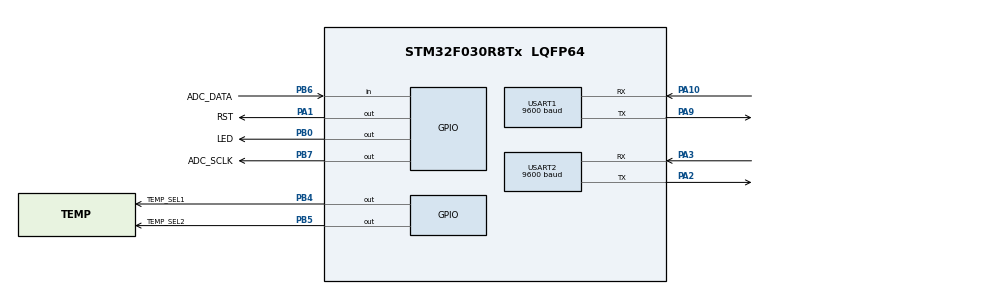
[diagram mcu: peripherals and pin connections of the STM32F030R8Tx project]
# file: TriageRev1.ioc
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Mcu.Family=STM32F0
Mcu.Name=STM32F030R8Tx
Mcu.Package=LQFP64
NVIC.USART1_IRQn=true\:0\:0\:false\:false\:true\:true\:true\:true
NVIC.USART2_IRQn=true\:0\:0\:false\:false\:true\:true\:true\:true
PA1.GPIO_Label=RST
PA1.Signal=GPIO_Output
PA10.Mode=Asynchronous
PA10.Signal=USART1_RX
PA13.Mode=Serial_Wire
PA13.Signal=SYS_SWDIO
PA14.Mode=Serial_Wire
PA14.Signal=SYS_SWCLK
PA2.Mode=Asynchronous
PA2.Signal=USART2_TX
PA3.Mode=Asynchronous
PA3.Signal=USART2_RX
PA9.Mode=Asynchronous
PA9.Signal=USART1_TX
PB0.GPIO_Label=LED
PB0.Signal=GPIO_Output
PB4.GPIO_Label=TEMP_SEL1
PB4.Signal=GPIO_Output
PB5.GPIO_Label=TEMP_SEL2
PB5.Signal=GPIO_Output
PB6.GPIO_Label=ADC_DATA
PB6.Signal=GPIO_Input
PB7.GPIO_Label=ADC_SCLK
PB7.Signal=GPIO_Output
PC14-OSC32_IN.Mode=LSE-External-Oscillator
PC14-OSC32_IN.Signal=RCC_OSC32_IN
PC15-OSC32_OUT.Mode=LSE-External-Oscillator
PC15-OSC32_OUT.Signal=RCC_OSC32_OUT
ProjectManager.HeapSize=0x200
ProjectManager.StackSize=0x400
ProjectManager.TargetToolchain=MDK-ARM V5
USART1.BaudRate=9600
USART1.VirtualMode-Asynchronous=VM_ASYNC
USART2.BaudRate=9600
USART2.VirtualMode-Asynchronous=VM_ASYNC
board=custom

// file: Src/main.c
/* USER CODE BEGIN Header */
/**
  ******************************************************************************
  * @file           : main.c
  * @brief          : Main program body
  ******************************************************************************
  * @attention
  *
  * <h2><center>&copy; Copyright (c) 2022 STMicroelectronics.
  * All rights reserved.</center></h2>
  *
  * This software component is licensed by ST under BSD 3-Clause license,
  * the "License"; You may not use this file except in compliance with the
  * License. You may obtain a copy of the License at:
  *                        opensource.org/licenses/BSD-3-Clause
  *
  ******************************************************************************
  */
/* USER CODE END Header */

#include "main.h"
#include "masimo.h"
#include "math.h"
#include "string.h"

/* USER CODE BEGIN PD */

#define AD7171_RESOLUTION 	32767.0f

/* USER CODE END PD */

UART_HandleTypeDef huart1;
UART_HandleTypeDef huart2;

/* USER CODE BEGIN PV */

MasimoPacket masimoPacket;

extern uint8_t incommingByte[1];
extern uint8_t receiveMasimo[64];
extern uint8_t state;
extern uint16_t spo2;
extern uint16_t pulseRate;
extern uint16_t perfusionIndex;

uint8_t espOut[32];

uint8_t pattern=0;
int adcData = 0;
float normalizeData = 0;
int resistor = 0;

static const float REF_RESISTOR = 10000.0;
float A = 0.001214095268; //A
float B = 0.0002351453496; //B
float C = 0.00000009101744098;  //C
float	T = 0;
uint16_t tempUint =0;

/* USER CODE END PV */

void SystemClock_Config(void);
static void MX_GPIO_Init(void);
static void MX_USART1_UART_Init(void);
static void MX_USART2_UART_Init(void);

/* USER CODE BEGIN 0 */

int adcRead() {
	int data = 0;

	pattern = 0;

	while(1){
		data = 0;

		if(!HAL_GPIO_ReadPin(ADC_DATA_GPIO_Port, ADC_DATA_Pin)) {
			for (int bit = 23; bit >= 0; bit--) {
				HAL_GPIO_WritePin(ADC_SCLK_GPIO_Port, ADC_SCLK_Pin, GPIO_PIN_RESET);
				HAL_GPIO_WritePin(ADC_SCLK_GPIO_Port, ADC_SCLK_Pin, GPIO_PIN_SET);

				if(HAL_GPIO_ReadPin(ADC_DATA_GPIO_Port, ADC_DATA_Pin))
					data |= (1 << bit);
			}
		}

		if(((data & 0x1F) == 0x0D) && ((data & 0x80) == 0))
			break;

		HAL_Delay(1);
	}

	pattern = (uint8_t) (data & 0xFF);

	return (data >> 8) & (0x7FFF);
}

/* USER CODE END 0 */

int main(void)
{

  /* MCU Configuration--------------------------------------------------------*/

  /* Reset of all peripherals, Initializes the Flash interface and the Systick. */
  HAL_Init();

  /* Configure the system clock */
  SystemClock_Config();

  /* Initialize all configured peripherals */
  MX_GPIO_Init();
  MX_USART1_UART_Init();
  MX_USART2_UART_Init();
  /* USER CODE BEGIN 2 */

	HAL_UART_Receive_IT(&huart2, incommingByte, 1);

	for(int i=0; i<3; i++){
		HAL_GPIO_WritePin(LED_GPIO_Port, LED_Pin, GPIO_PIN_SET);
		HAL_Delay(100);
		HAL_GPIO_WritePin(LED_GPIO_Port, LED_Pin, GPIO_PIN_RESET);
		HAL_Delay(100);
	}

	HAL_GPIO_WritePin(RST_GPIO_Port, RST_Pin, GPIO_PIN_RESET);
	HAL_Delay(1000);
	HAL_GPIO_WritePin(RST_GPIO_Port, RST_Pin, GPIO_PIN_SET);
	HAL_Delay(3000);

  /* USER CODE END 2 */
	initPacket();

	checkStatus();
	HAL_Delay(1000);

	if(state == BOARD_LOCKED){
		requestBoardInfo();
		HAL_Delay(1000);

		unlockBoard();
		HAL_Delay(1000);
	}

	if(state == 'M'){
		programmingAck();
		HAL_Delay(1000);
	}

	HAL_GPIO_WritePin(TEMP_SEL1_GPIO_Port, TEMP_SEL1_Pin, GPIO_PIN_RESET);	// Skin 1 secildi
	HAL_GPIO_WritePin(TEMP_SEL2_GPIO_Port, TEMP_SEL2_Pin, GPIO_PIN_RESET);	// Skin 1 secildi
	HAL_GPIO_WritePin(ADC_SCLK_GPIO_Port, ADC_SCLK_Pin, GPIO_PIN_SET);

  /* USER CODE END 2 */

  /* Infinite loop */
  while (1)
  {
		requestSpo2();
		HAL_Delay(120);
		requestPulseRate();
		HAL_Delay(120);
		requestPerfusionIndex();
		HAL_Delay(120);

		adcData = adcRead();
		if(pattern == 0x0D){
			normalizeData = (float)adcData/AD7171_RESOLUTION;
			resistor = normalizeData*REF_RESISTOR;
			if(resistor<100){
				T=0;	// Arizali cilt
				tempUint = 0;
			}
			else{
				T = 1/(A + (B*log(resistor)) + (C*pow(log(resistor),3)));
				T = T-273.15;
				tempUint = T*100;
			}
		}
		else{
			T=1; // Cilt takili degil.
			tempUint = 1;
		}

		espOut[0] = 0xA4;
		espOut[1] = spo2>>8;
		espOut[2] = spo2;
		espOut[3] = pulseRate>>8;
		espOut[4] = pulseRate;
		espOut[5] = perfusionIndex>>8;
		espOut[6] = perfusionIndex;
		espOut[7] = tempUint>>8;
		espOut[8] = tempUint;
		espOut[9] = 0x4A;

		HAL_UART_Transmit(&huart1, espOut, 10, 100);
		HAL_Delay(1000);
		memset(espOut, 0, 32);
	}
  /* USER CODE END 3 */
}

void SystemClock_Config(void)
{
  RCC_OscInitTypeDef RCC_OscInitStruct = {0};
  RCC_ClkInitTypeDef RCC_ClkInitStruct = {0};
  RCC_PeriphCLKInitTypeDef PeriphClkInit = {0};

  /** Initializes the CPU, AHB and APB busses clocks
  */
  RCC_OscInitStruct.OscillatorType = RCC_OSCILLATORTYPE_HSI;
  RCC_OscInitStruct.HSIState = RCC_HSI_ON;
  RCC_OscInitStruct.HSICalibrationValue = RCC_HSICALIBRATION_DEFAULT;
  RCC_OscInitStruct.PLL.PLLState = RCC_PLL_NONE;
  if (HAL_RCC_OscConfig(&RCC_OscInitStruct) != HAL_OK)
  {
    Error_Handler();
  }
  /** Initializes the CPU, AHB and APB busses clocks
  */
  RCC_ClkInitStruct.ClockType = RCC_CLOCKTYPE_HCLK|RCC_CLOCKTYPE_SYSCLK
                              |RCC_CLOCKTYPE_PCLK1;
  RCC_ClkInitStruct.SYSCLKSource = RCC_SYSCLKSOURCE_HSI;
  RCC_ClkInitStruct.AHBCLKDivider = RCC_SYSCLK_DIV1;
  RCC_ClkInitStruct.APB1CLKDivider = RCC_HCLK_DIV1;

  if (HAL_RCC_ClockConfig(&RCC_ClkInitStruct, FLASH_LATENCY_0) != HAL_OK)
  {
    Error_Handler();
  }
  PeriphClkInit.PeriphClockSelection = RCC_PERIPHCLK_USART1;
  PeriphClkInit.Usart1ClockSelection = RCC_USART1CLKSOURCE_PCLK1;
  if (HAL_RCCEx_PeriphCLKConfig(&PeriphClkInit) != HAL_OK)
  {
    Error_Handler();
  }
}

static void MX_USART1_UART_Init(void)
{

  huart1.Instance = USART1;
  huart1.Init.BaudRate = 9600;
  huart1.Init.WordLength = UART_WORDLENGTH_8B;
  huart1.Init.StopBits = UART_STOPBITS_1;
  huart1.Init.Parity = UART_PARITY_NONE;
  huart1.Init.Mode = UART_MODE_TX_RX;
  huart1.Init.HwFlowCtl = UART_HWCONTROL_NONE;
  huart1.Init.OverSampling = UART_OVERSAMPLING_16;
  huart1.Init.OneBitSampling = UART_ONE_BIT_SAMPLE_DISABLE;
  huart1.AdvancedInit.AdvFeatureInit = UART_ADVFEATURE_NO_INIT;
  if (HAL_UART_Init(&huart1) != HAL_OK)
  {
    Error_Handler();
  }

}

static void MX_USART2_UART_Init(void)
{

  huart2.Instance = USART2;
  huart2.Init.BaudRate = 9600;
  huart2.Init.WordLength = UART_WORDLENGTH_8B;
  huart2.Init.StopBits = UART_STOPBITS_1;
  huart2.Init.Parity = UART_PARITY_NONE;
  huart2.Init.Mode = UART_MODE_TX_RX;
  huart2.Init.HwFlowCtl = UART_HWCONTROL_NONE;
  huart2.Init.OverSampling = UART_OVERSAMPLING_16;
  huart2.Init.OneBitSampling = UART_ONE_BIT_SAMPLE_DISABLE;
  huart2.AdvancedInit.AdvFeatureInit = UART_ADVFEATURE_NO_INIT;
  if (HAL_UART_Init(&huart2) != HAL_OK)
  {
    Error_Handler();
  }

}

static void MX_GPIO_Init(void)
{
  GPIO_InitTypeDef GPIO_InitStruct = {0};

  /* GPIO Ports Clock Enable */
  __HAL_RCC_GPIOC_CLK_ENABLE();
  __HAL_RCC_GPIOA_CLK_ENABLE();
  __HAL_RCC_GPIOB_CLK_ENABLE();

  /*Configure GPIO pin Output Level */
  HAL_GPIO_WritePin(RST_GPIO_Port, RST_Pin, GPIO_PIN_RESET);

  /*Configure GPIO pin Output Level */
  HAL_GPIO_WritePin(GPIOB, LED_Pin|TEMP_SEL1_Pin|TEMP_SEL2_Pin|ADC_SCLK_Pin, GPIO_PIN_RESET);

  /*Configure GPIO pin : RST_Pin */
  GPIO_InitStruct.Pin = RST_Pin;
  GPIO_InitStruct.Mode = GPIO_MODE_OUTPUT_PP;
  GPIO_InitStruct.Pull = GPIO_NOPULL;
  GPIO_InitStruct.Speed = GPIO_SPEED_FREQ_LOW;
  HAL_GPIO_Init(RST_GPIO_Port, &GPIO_InitStruct);

  /*Configure GPIO pins : LED_Pin TEMP_SEL1_Pin TEMP_SEL2_Pin ADC_SCLK_Pin */
  GPIO_InitStruct.Pin = LED_Pin|TEMP_SEL1_Pin|TEMP_SEL2_Pin|ADC_SCLK_Pin;
  GPIO_InitStruct.Mode = GPIO_MODE_OUTPUT_PP;
  GPIO_InitStruct.Pull = GPIO_NOPULL;
  GPIO_InitStruct.Speed = GPIO_SPEED_FREQ_LOW;
  HAL_GPIO_Init(GPIOB, &GPIO_InitStruct);

  /*Configure GPIO pin : ADC_DATA_Pin */
  GPIO_InitStruct.Pin = ADC_DATA_Pin;
  GPIO_InitStruct.Mode = GPIO_MODE_INPUT;
  GPIO_InitStruct.Pull = GPIO_NOPULL;
  HAL_GPIO_Init(ADC_DATA_GPIO_Port, &GPIO_InitStruct);

}

void Error_Handler(void)
{
}

/************************ (C) COPYRIGHT STMicroelectronics *****END OF FILE****/
